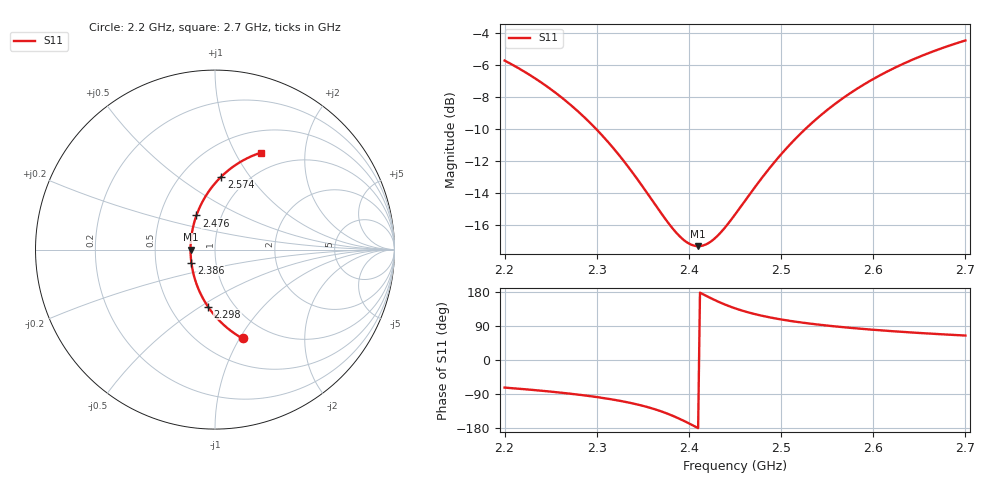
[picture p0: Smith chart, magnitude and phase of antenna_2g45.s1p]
! Created with skrf 2.1.0 (http://scikit-rf.org).
# GHz S MA R 50.0
!freq magS11 angS11
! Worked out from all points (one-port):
!   251 points, 2.2 GHz to 2.7 GHz, reference 50 ohm
!   lowest |S11| = -17.3 dB at 2.41 GHz (marker M1), VSWR 1.32, Z = 38 - j0.0374 ohm
!   |S11| at or under -10 dB: 2.3 GHz to 2.526 GHz (226.5 MHz wide, 9.39 % of centre)
!   S11 on the Smith chart (normalised r, x): 2.2 GHz: 0.76, -1.03; 2.298 GHz: 0.76, -0.54; 2.386 GHz: 0.76, -0.11; 2.476 GHz: 0.76, +0.30; 2.574 GHz: 0.76, +0.74; 2.7 GHz: 0.76, +1.28
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2.2  0.5184 -72.8
2.234  0.4542 -79.7
2.264  0.3929 -87.0
2.282  0.3545 -92.0
2.298  0.3197 -97.1
2.312  0.2891 -102.2
2.326  0.2587 -108.1
2.356  0.1973 -124.9
2.374  0.1664 -139.1
2.386  0.1505 -151.0
2.388  0.1484 -153.2
2.394  0.1429 -160.0
2.4  0.139 -167.2
2.41  0.1364 -179.8
2.418  0.1379 170.1
2.428  0.1441 158.2
2.438  0.1545 147.5
2.45  0.1711 136.4
2.476  0.2167 118.5
2.496  0.256 108.7
2.514  0.2921 101.7
2.542  0.3477 93.0
2.574  0.4081 85.1
2.576  0.4117 84.6
2.606  0.464 78.6
2.638  0.5148 73.2
2.668  0.5578 68.7
2.7  0.5991 64.5
